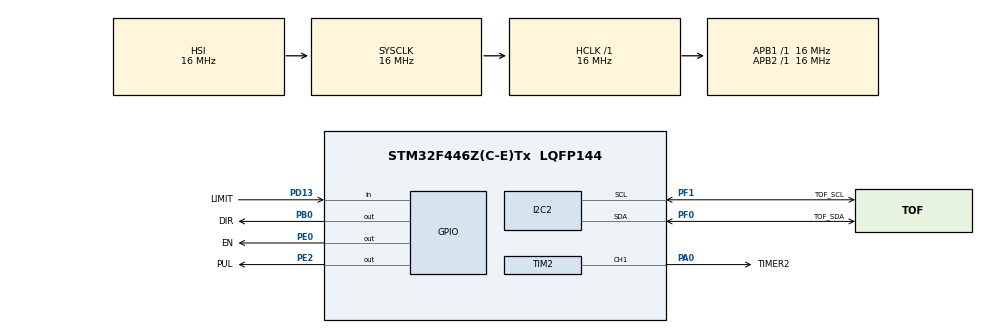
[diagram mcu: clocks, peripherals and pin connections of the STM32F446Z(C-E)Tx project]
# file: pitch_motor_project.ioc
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Mcu.Family=STM32F4
Mcu.Name=STM32F446Z(C-E)Tx
Mcu.Package=LQFP144
NVIC.PriorityGroup=NVIC_PRIORITYGROUP_4
NVIC.TIM2_IRQn=true\:0\:0\:false\:false\:true\:true\:true\:true
PA0-WKUP.GPIO_Label=TIMER2
PA0-WKUP.Signal=S_TIM2_CH1_ETR
PB0.GPIO_Label=DIR
PB0.Signal=GPIO_Output
PD13.GPIO_Label=LIMIT
PD13.GPIO_PuPd=GPIO_PULLUP
PD13.Signal=GPIO_Input
PE0.GPIO_Label=EN
PE0.Signal=GPIO_Output
PE2.GPIO_Label=PUL
PE2.Signal=GPIO_Output
PF0.GPIO_Label=TOF_SDA
PF0.Mode=I2C
PF0.Signal=I2C2_SDA
PF1.GPIO_Label=TOF_SCL
PF1.Mode=I2C
PF1.Signal=I2C2_SCL
PH0-OSC_IN.GPIO_Label=CLOCK_IN
PH0-OSC_IN.Mode=HSE-External-Oscillator
PH0-OSC_IN.Signal=RCC_OSC_IN
PH1-OSC_OUT.GPIO_Label=CLOCK_OUT
PH1-OSC_OUT.Mode=HSE-External-Oscillator
PH1-OSC_OUT.Signal=RCC_OSC_OUT
ProjectManager.HeapSize=0x200
ProjectManager.StackSize=0x400
ProjectManager.TargetToolchain=STM32CubeIDE
RCC.AHBFreq_Value=16000000
RCC.APB1Freq_Value=16000000
RCC.APB1TimCLKDivider=1
RCC.APB1TimFreq_Value=16000000
RCC.APB2Freq_Value=16000000
RCC.APB2TimFreq_Value=16000000
RCC.CortexFreq_Value=16000000
RCC.HCLKFreq_Value=16000000
RCC.HSE_VALUE=25000000
RCC.SYSCLKFreq_VALUE=16000000
RCC.USBFreq_Value=96000000
RCC.VCOOutputFreq_Value=192000000
SH.S_TIM2_CH1_ETR.0=TIM2_CH1,PWM Generation1 CH1
TIM2.AutoReloadPreload=TIM_AUTORELOAD_PRELOAD_ENABLE
TIM2.Channel-PWM\ Generation1\ CH1=TIM_CHANNEL_1
TIM2.Period=6000
TIM2.Pulse-PWM\ Generation1\ CH1=3000
VP_TIM2_VS_ClockSourceINT.Mode=Internal
board=custom

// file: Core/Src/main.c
/* USER CODE BEGIN Header */
/**
  ******************************************************************************
  * @file           : main.c
  * @brief          : Main program body
  ******************************************************************************
  * @attention
  *
  * Copyright (c) 2026 STMicroelectronics.
  * All rights reserved.
  *
  * This software is licensed under terms that can be found in the LICENSE file
  * in the root directory of this software component.
  * If no LICENSE file comes with this software, it is provided AS-IS.
  *
  ******************************************************************************
  */
/* USER CODE END Header */
#include "main.h"
#include "stdlib.h"

/* USER CODE BEGIN Includes */
#include "VL53L0X.h"
#include "stdio.h"

/* USER CODE END Includes */

/* USER CODE BEGIN PD */
#define MAX_DISTANCE 120
#define HOMING_SPEED 6000
#define MOVING_SPEED 3000
#define MIN_PVALUE 3000
#define MAX_PVALUE 25000
#define STEPS_PER_ROTATION 200
#define MICROSTEP_RATIO 8
#define ROTATIONS_PER_MM 4
#define POS_DIR 1					//positive direction is away from roll motor
#define HOME_TIMEOUT 10000000
#define ACC_GAIN 10

/* USER CODE END PD */

/* USER CODE BEGIN PM */
uint16_t distance;
uint8_t distance_from_center = 90; //millimeters
uint8_t distance_to_end = 180;
unsigned int counter = 0; // counter represents position of motor
unsigned int target_counter = 0;
int period = 3000;
uint8_t direction = 0;
uint8_t moving = 0;
uint8_t homing = 1;
int steps_diff = 0;

void change_period(void);

/* USER CODE END PM */

I2C_HandleTypeDef hi2c2;

TIM_HandleTypeDef htim2;

void SystemClock_Config(void);
static void MX_GPIO_Init(void);
static void MX_TIM2_Init(void);
static void MX_I2C2_Init(void);
/* USER CODE BEGIN PFP */
static uint8_t internal_cs = 16;
/* USER CODE END PFP */

/* USER CODE BEGIN 0 */

void HAL_TIM_PeriodElapsedCallback(TIM_HandleTypeDef *htim){

	//only in homing mode: move to one end with no limit
	if (homing == 1) {

		HAL_GPIO_WritePin(DIR_GPIO_Port, DIR_Pin, !POS_DIR);
		direction = !POS_DIR;
		HAL_GPIO_TogglePin(PUL_GPIO_Port, PUL_Pin);

		if (counter > HOME_TIMEOUT){
			//TODO: send timeout error
		}

		counter++;

	} else {

		if (moving == 1) {
				//increment or decrement the counter depending on current direction
				//TODO: add upper limit on counter
				if (direction == !POS_DIR && counter > 0) {
							counter--;
				} else {
							counter++;
				}

				HAL_GPIO_TogglePin(PUL_GPIO_Port, PUL_Pin);

			}

			//move until we reach the target distance
			  if (counter != target_counter){
				  steps_diff = target_counter - counter;

				  //set direction by checking whether the target is forwards or backwardsfrom current position
				  if (steps_diff < 0) {
						HAL_GPIO_WritePin(DIR_GPIO_Port, DIR_Pin, !POS_DIR);
						direction = !POS_DIR;

				  } else {
						HAL_GPIO_WritePin(DIR_GPIO_Port, DIR_Pin, POS_DIR);
						direction = POS_DIR;
				  }

				  //change the speed depending on the distance away from target (acceleration)

				  period = MAX_PVALUE - (abs(steps_diff) * ACC_GAIN);

				  if (period > MAX_PVALUE) {
						period = MAX_PVALUE;
				  } else if (period < MIN_PVALUE) {
						period = MIN_PVALUE;
				  }

				  change_period();

				  /*
				  if (steps_diff > -2500 && steps_diff < 2500) {
					  period = 9000;
					  change_period();

				  } else if (steps_diff > -5000 && steps_diff < 5000) {
					  //TODO: fix the problem where the period doesn't change back
					  period = 6000;
					  change_period();
				  }
				  */

				  moving = 1;

			  } else {
				  moving = 0;
			  }
	}

}

void stop_pitch_motor(void){
	TIM2->CCR1 = 0;
}

/*

void change_pitch(float freq){
	float khz = freq / 1000;
	float period_cycle = internal_cs / khz;
	TIM2->ARR = (int)period_cycle;
	TIM2->CCR1 = (int)period_cycle / 2;
}

// input meters
//

void change_pitch(int target){
	distance
	int center
	distance_from_center

}
*/

void home_motor(void)
{
	counter = 0;
	//make speed twice as slow during homing
	period = HOMING_SPEED;
	change_period();

	while(!HAL_GPIO_ReadPin(LIMIT_GPIO_Port, LIMIT_Pin)){

	}

	counter = 0;

	period = MOVING_SPEED;
	change_period();

	homing = 0;
}

void change_period(void){
	TIM2->ARR = period;
	TIM2->CCR1 = period/2;
}

int mm_to_microsteps(int mm) {
	int microsteps = (mm * STEPS_PER_ROTATION * MICROSTEP_RATIO) / ROTATIONS_PER_MM;
	return microsteps;
}

/* USER CODE END 0 */

int main(void)
{

  /* MCU Configuration--------------------------------------------------------*/

  /* Reset of all peripherals, Initializes the Flash interface and the Systick. */
  HAL_Init();

  /* Configure the system clock */
  SystemClock_Config();

  /* Initialize all configured peripherals */
  MX_GPIO_Init();
  MX_TIM2_Init();
  MX_I2C2_Init();
  /* USER CODE BEGIN 2 */
	//HAL_TIM_PWM_Start(&htim2, TIM_CHANNEL_1);
  HAL_TIM_Base_Start_IT(&htim2);

	int32_t CH1_DC = 1000;

	HAL_GPIO_WritePin(EN_GPIO_Port, EN_Pin, 0);

	// Initialise a message buffer.
	char msgBuffer[52];
	for (uint8_t i = 0; i < 52; i++) {
		msgBuffer[i] = ' ';
	}

	/*
	// Initialise the VL53L0X
	statInfo_t_VL53L0X distanceStr;
	initVL53L0X(1, &hi2c2);

	// Configure the sensor for high accuracy and speed in 20 cm.
	setSignalRateLimit(200);
	setVcselPulsePeriod(VcselPeriodPreRange, 10);
	setVcselPulsePeriod(VcselPeriodFinalRange, 14);
	setMeasurementTimingBudget(300 * 1000UL);

	*/

	home_motor();

	distance = 0;

	target_counter = mm_to_microsteps(MAX_DISTANCE);

  /* USER CODE END 2 */

  /* Infinite loop */
  /* USER CODE BEGIN WHILE */
  while (1)
  {
	  /*

	  for (int i = 0; i < MAX_DISTANCE; i++ ){
		  target_counter = mm_to_microsteps(i);
		  HAL_Delay(50);
	  }

	  target_counter = mm_to_microsteps(0);
	  HAL_Delay(15000);
	  */

	  HAL_Delay(15000);

	  target_counter = mm_to_microsteps(0);

	  //error: check target counter
	  //period = MOVING_SPEED;
	  //change_period();

	  HAL_Delay(15000);

	  target_counter = mm_to_microsteps(MAX_DISTANCE);

/*
	  period = MOVING_SPEED;
	  change_period();

*/

	  //adjust counter period and pulse
	  /*
	  while(CH1_DC < 6000)
	      	{
	      	    TIM2->ARR = CH1_DC;
	      	    TIM2->CCR1 = CH1_DC / 2;

	      	    CH1_DC += 5;

	      	    HAL_Delay(1);
	      	}
	  while(CH1_DC > 1000)
	      	{
	      	    TIM2->ARR = CH1_DC;
	      	    TIM2->CCR1 = CH1_DC / 2;
	      	    CH1_DC -= 5;
	      	    HAL_Delay(1);
	      	}
	*/

	 /*
	  HAL_Delay(5000);

	  HAL_GPIO_WritePin(DIR_GPIO_Port, DIR_Pin, 1);

	  HAL_Delay(5000);

	  HAL_GPIO_WritePin(DIR_GPIO_Port, DIR_Pin, 0);

	*/
	 // distance = readRangeSingleMillimeters(&distanceStr);

    /* USER CODE END WHILE */

    /* USER CODE BEGIN 3 */
	  //change_pitch(1);
  }

  HAL_TIM_Base_Stop_IT(&htim2);
  /* USER CODE END 3 */
}

void SystemClock_Config(void)
{
  RCC_OscInitTypeDef RCC_OscInitStruct = {0};
  RCC_ClkInitTypeDef RCC_ClkInitStruct = {0};

  /** Configure the main internal regulator output voltage
  */
  __HAL_RCC_PWR_CLK_ENABLE();
  __HAL_PWR_VOLTAGESCALING_CONFIG(PWR_REGULATOR_VOLTAGE_SCALE3);

  /** Initializes the RCC Oscillators according to the specified parameters
  * in the RCC_OscInitTypeDef structure.
  */
  RCC_OscInitStruct.OscillatorType = RCC_OSCILLATORTYPE_HSI;
  RCC_OscInitStruct.HSIState = RCC_HSI_ON;
  RCC_OscInitStruct.HSICalibrationValue = RCC_HSICALIBRATION_DEFAULT;
  RCC_OscInitStruct.PLL.PLLState = RCC_PLL_NONE;
  if (HAL_RCC_OscConfig(&RCC_OscInitStruct) != HAL_OK)
  {
    Error_Handler();
  }

  /** Initializes the CPU, AHB and APB buses clocks
  */
  RCC_ClkInitStruct.ClockType = RCC_CLOCKTYPE_HCLK|RCC_CLOCKTYPE_SYSCLK
                              |RCC_CLOCKTYPE_PCLK1|RCC_CLOCKTYPE_PCLK2;
  RCC_ClkInitStruct.SYSCLKSource = RCC_SYSCLKSOURCE_HSI;
  RCC_ClkInitStruct.AHBCLKDivider = RCC_SYSCLK_DIV1;
  RCC_ClkInitStruct.APB1CLKDivider = RCC_HCLK_DIV1;
  RCC_ClkInitStruct.APB2CLKDivider = RCC_HCLK_DIV1;

  if (HAL_RCC_ClockConfig(&RCC_ClkInitStruct, FLASH_LATENCY_0) != HAL_OK)
  {
    Error_Handler();
  }
}

static void MX_I2C2_Init(void)
{

  hi2c2.Instance = I2C2;
  hi2c2.Init.ClockSpeed = 100000;
  hi2c2.Init.DutyCycle = I2C_DUTYCYCLE_2;
  hi2c2.Init.OwnAddress1 = 0;
  hi2c2.Init.AddressingMode = I2C_ADDRESSINGMODE_7BIT;
  hi2c2.Init.DualAddressMode = I2C_DUALADDRESS_DISABLE;
  hi2c2.Init.OwnAddress2 = 0;
  hi2c2.Init.GeneralCallMode = I2C_GENERALCALL_DISABLE;
  hi2c2.Init.NoStretchMode = I2C_NOSTRETCH_DISABLE;
  if (HAL_I2C_Init(&hi2c2) != HAL_OK)
  {
    Error_Handler();
  }

}

static void MX_TIM2_Init(void)
{

  TIM_ClockConfigTypeDef sClockSourceConfig = {0};
  TIM_MasterConfigTypeDef sMasterConfig = {0};
  TIM_OC_InitTypeDef sConfigOC = {0};

  htim2.Instance = TIM2;
  htim2.Init.Prescaler = 0;
  htim2.Init.CounterMode = TIM_COUNTERMODE_UP;
  htim2.Init.Period = 6000;
  htim2.Init.ClockDivision = TIM_CLOCKDIVISION_DIV1;
  htim2.Init.AutoReloadPreload = TIM_AUTORELOAD_PRELOAD_ENABLE;
  if (HAL_TIM_Base_Init(&htim2) != HAL_OK)
  {
    Error_Handler();
  }
  sClockSourceConfig.ClockSource = TIM_CLOCKSOURCE_INTERNAL;
  if (HAL_TIM_ConfigClockSource(&htim2, &sClockSourceConfig) != HAL_OK)
  {
    Error_Handler();
  }
  if (HAL_TIM_PWM_Init(&htim2) != HAL_OK)
  {
    Error_Handler();
  }
  sMasterConfig.MasterOutputTrigger = TIM_TRGO_RESET;
  sMasterConfig.MasterSlaveMode = TIM_MASTERSLAVEMODE_DISABLE;
  if (HAL_TIMEx_MasterConfigSynchronization(&htim2, &sMasterConfig) != HAL_OK)
  {
    Error_Handler();
  }
  sConfigOC.OCMode = TIM_OCMODE_PWM1;
  sConfigOC.Pulse = 3000;
  sConfigOC.OCPolarity = TIM_OCPOLARITY_HIGH;
  sConfigOC.OCFastMode = TIM_OCFAST_DISABLE;
  if (HAL_TIM_PWM_ConfigChannel(&htim2, &sConfigOC, TIM_CHANNEL_1) != HAL_OK)
  {
    Error_Handler();
  }
  HAL_TIM_MspPostInit(&htim2);

}

static void MX_GPIO_Init(void)
{
  GPIO_InitTypeDef GPIO_InitStruct = {0};

  /* GPIO Ports Clock Enable */
  __HAL_RCC_GPIOE_CLK_ENABLE();
  __HAL_RCC_GPIOF_CLK_ENABLE();
  __HAL_RCC_GPIOH_CLK_ENABLE();
  __HAL_RCC_GPIOA_CLK_ENABLE();
  __HAL_RCC_GPIOB_CLK_ENABLE();
  __HAL_RCC_GPIOD_CLK_ENABLE();

  /*Configure GPIO pin Output Level */
  HAL_GPIO_WritePin(GPIOE, PUL_Pin|EN_Pin, GPIO_PIN_RESET);

  /*Configure GPIO pin Output Level */
  HAL_GPIO_WritePin(DIR_GPIO_Port, DIR_Pin, GPIO_PIN_RESET);

  /*Configure GPIO pins : PUL_Pin EN_Pin */
  GPIO_InitStruct.Pin = PUL_Pin|EN_Pin;
  GPIO_InitStruct.Mode = GPIO_MODE_OUTPUT_PP;
  GPIO_InitStruct.Pull = GPIO_NOPULL;
  GPIO_InitStruct.Speed = GPIO_SPEED_FREQ_LOW;
  HAL_GPIO_Init(GPIOE, &GPIO_InitStruct);

  /*Configure GPIO pin : DIR_Pin */
  GPIO_InitStruct.Pin = DIR_Pin;
  GPIO_InitStruct.Mode = GPIO_MODE_OUTPUT_PP;
  GPIO_InitStruct.Pull = GPIO_NOPULL;
  GPIO_InitStruct.Speed = GPIO_SPEED_FREQ_LOW;
  HAL_GPIO_Init(DIR_GPIO_Port, &GPIO_InitStruct);

  /*Configure GPIO pin : LIMIT_Pin */
  GPIO_InitStruct.Pin = LIMIT_Pin;
  GPIO_InitStruct.Mode = GPIO_MODE_INPUT;
  GPIO_InitStruct.Pull = GPIO_PULLUP;
  HAL_GPIO_Init(LIMIT_GPIO_Port, &GPIO_InitStruct);

}

void Error_Handler(void)
{
  __disable_irq();
  while (1)
  {
  }
}
